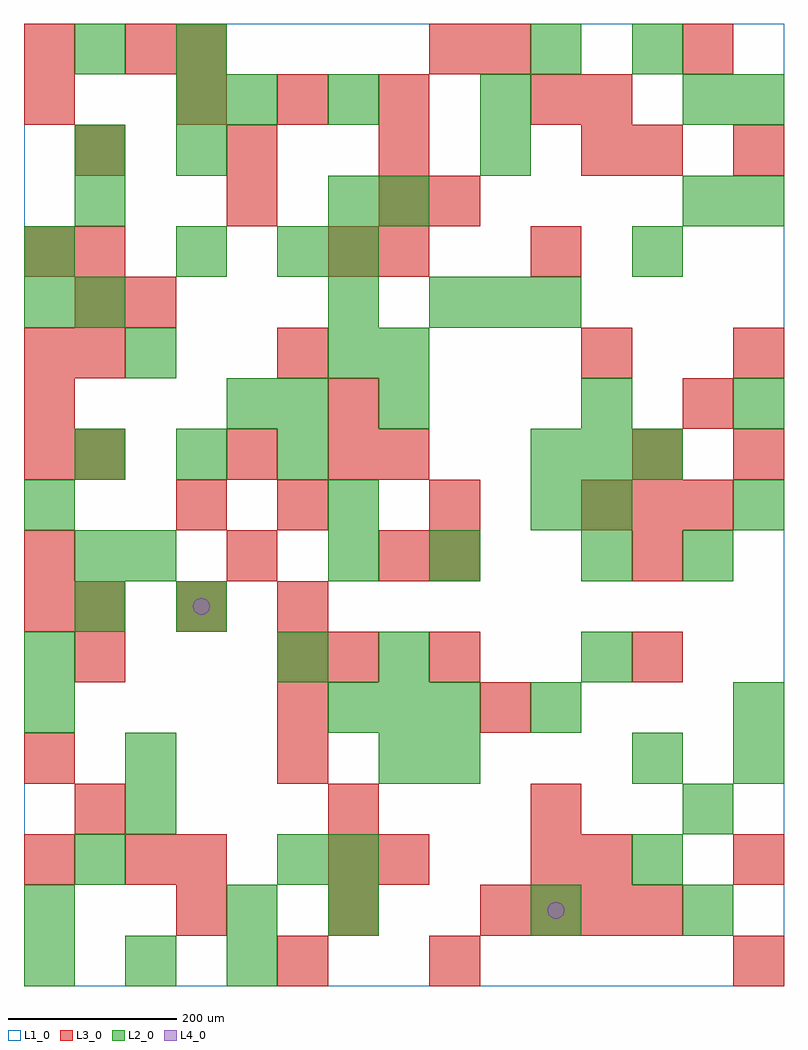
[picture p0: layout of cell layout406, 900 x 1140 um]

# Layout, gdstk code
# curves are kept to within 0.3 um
import gdstk
lib = gdstk.Library(unit=1e-6, precision=1e-09)
def R(c, l, rs):  # rectangles x0, y0, x1, y1
    for r in rs: c.add(gdstk.rectangle(r[:2], r[2:], *l))
def A(c, l, x, y, w, h, nx, ny, dx, dy):  # array of equal rectangles
    R(c, l, [(x+i*dx, y+j*dy, x+i*dx+w, y+j*dy+h) for i in range(nx) for j in range(ny)])
def P(c, l, *ps):  # polygons
    for p in ps: c.add(gdstk.Polygon(p, *l))
L1_0 = (1, 0)
L2_0 = (2, 0)
L3_0 = (3, 0)
L4_0 = (4, 0)

layout406 = lib.new_cell('layout406')
R(layout406, L1_0, [(0,0,900,1140)])
A(layout406, L2_0, 0, 0, 60, 60, 3, 1, 120, 0)
A(layout406, L2_0, 600, 60, 60, 60, 1, 3, 0, 240)
A(layout406, L2_0, 120, 240, 60, 60, 1, 3, 0, 240)
A(layout406, L2_0, 360, 300, 60, 60, 3, 1, 60, 0)
A(layout406, L2_0, 60, 600, 60, 60, 3, 1, 120, 0)
A(layout406, L2_0, 600, 600, 60, 60, 3, 1, 60, 0)
A(layout406, L2_0, 360, 720, 60, 60, 1, 4, 0, 60)
A(layout406, L2_0, 480, 780, 60, 60, 3, 1, 60, 0)
A(layout406, L2_0, 180, 960, 60, 60, 1, 3, 0, 60)
R(layout406, L2_0, [(0,60,60,120), (240,60,300,120), (360,60,420,120), (780,60,840,120), (60,120,120,180), (300,120,360,180), (360,120,420,180), (720,120,780,180), (120,180,180,240), (780,180,840,240), (420,240,480,300), (480,240,540,300), (720,240,780,300), (840,240,900,300), (0,300,60,360), (840,300,900,360), (0,360,60,420), (300,360,360,420), (420,360,480,420), (660,360,720,420), (60,420,120,480), (180,420,240,480), (60,480,120,540), (360,480,420,540), (480,480,540,540), (660,480,720,540), (780,480,840,540), (0,540,60,600), (360,540,420,600), (660,540,720,600), (840,540,900,600), (240,660,300,720), (300,660,360,720), (420,660,480,720), (660,660,720,720), (840,660,900,720), (420,720,480,780), (0,780,60,840), (60,780,120,840), (0,840,60,900), (180,840,240,900), (300,840,360,900), (720,840,780,900), (60,900,120,960), (420,900,480,960), (780,900,840,960), (840,900,900,960), (60,960,120,1020), (540,960,600,1020), (240,1020,300,1080), (360,1020,420,1080), (540,1020,600,1080), (780,1020,840,1080), (840,1020,900,1080), (60,1080,120,1140), (600,1080,660,1140), (720,1080,780,1140)])
A(layout406, L3_0, 180, 60, 60, 60, 3, 1, 180, 0)
A(layout406, L3_0, 600, 60, 60, 60, 3, 1, 60, 0)
A(layout406, L3_0, 300, 240, 60, 60, 1, 3, 0, 60)
A(layout406, L3_0, 60, 420, 60, 60, 3, 1, 120, 0)
A(layout406, L3_0, 720, 480, 60, 60, 1, 3, 0, 60)
A(layout406, L3_0, 300, 540, 60, 60, 3, 1, 180, 0)
A(layout406, L3_0, 0, 600, 60, 60, 1, 3, 0, 60)
A(layout406, L3_0, 60, 720, 60, 60, 1, 3, 0, 60)
A(layout406, L3_0, 60, 960, 60, 60, 3, 1, 180, 0)
A(layout406, L3_0, 180, 1020, 60, 60, 3, 1, 120, 0)
R(layout406, L3_0, [(300,0,360,60), (480,0,540,60), (840,0,900,60), (0,120,60,180), (120,120,180,180), (180,120,240,180), (360,120,420,180), (420,120,480,180), (600,120,660,180), (660,120,720,180), (840,120,900,180), (60,180,120,240), (360,180,420,240), (600,180,660,240), (0,240,60,300), (540,300,600,360), (60,360,120,420), (360,360,420,420), (480,360,540,420), (720,360,780,420), (0,420,60,480), (0,480,60,540), (240,480,300,540), (420,480,480,540), (480,480,540,540), (180,540,240,600), (780,540,840,600), (60,600,120,660), (240,600,300,660), (360,600,420,660), (420,600,480,660), (840,600,900,660), (360,660,420,720), (780,660,840,720), (300,720,360,780), (660,720,720,780), (840,720,900,780), (120,780,180,840), (0,840,60,900), (360,840,420,900), (420,840,480,900), (600,840,660,900), (240,900,300,960), (420,900,480,960), (480,900,540,960), (660,960,720,1020), (720,960,780,1020), (840,960,900,1020), (0,1020,60,1080), (600,1020,660,1080), (660,1020,720,1080), (0,1080,60,1140), (120,1080,180,1140), (180,1080,240,1140), (480,1080,540,1140), (540,1080,600,1140), (780,1080,840,1140)])
P(layout406, L4_0, [(220,450),(219.239,453.827),(217.071,457.071),(213.827,459.239),(210,460),(206.173,459.239),(202.929,457.071),(200.761,453.827),(200,450),(200.761,446.173),(202.929,442.929),(206.173,440.761),(210,440),(213.827,440.761),(217.071,442.929),(219.239,446.173)],
  [(640,90),(639.239,93.827),(637.071,97.071),(633.827,99.239),(630,100),(626.173,99.239),(622.929,97.071),(620.761,93.827),(620,90),(620.761,86.173),(622.929,82.929),(626.173,80.761),(630,80),(633.827,80.761),(637.071,82.929),(639.239,86.173)])

lib.write_gds('layout406.gds')
